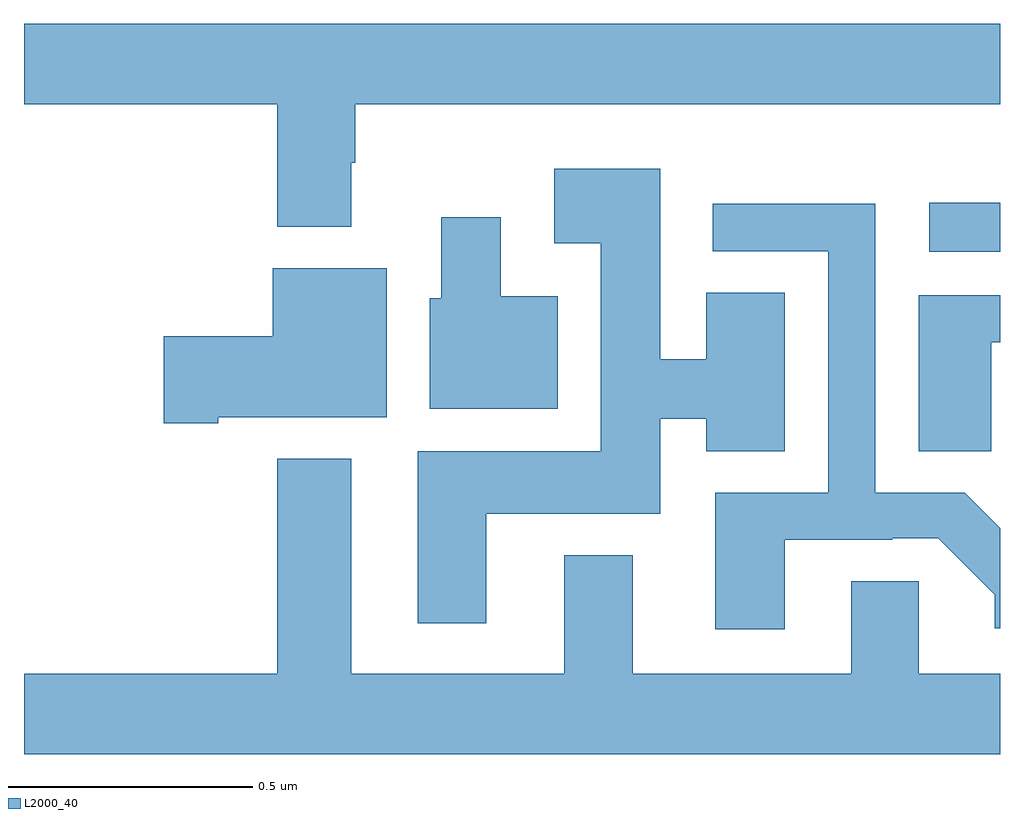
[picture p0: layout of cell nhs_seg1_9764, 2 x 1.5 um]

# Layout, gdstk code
import gdstk
lib = gdstk.Library(unit=1e-6, precision=1e-09)
def R(c, l, rs):  # rectangles x0, y0, x1, y1
    for r in rs: c.add(gdstk.rectangle(r[:2], r[2:], *l))
def P(c, l, *ps):  # polygons
    for p in ps: c.add(gdstk.Polygon(p, *l))
L2000_40 = (2000, 40)

nhs_seg1_9764 = lib.new_cell('nhs_seg1_9764')
R(nhs_seg1_9764, L2000_40, [(234.855,507.473,235,507.574)])
P(nhs_seg1_9764, L2000_40, [(233,507.776),(233.519,507.776),(233.519,507.524),(233.671,507.524),(233.671,507.656),(233.679,507.656),(233.679,507.776),(235,507.776),(235,507.94),(233,507.94)],
  [(233.947,506.936),(234.304,506.936),(234.304,507.131),(234.398,507.131),(234.398,507.064),(234.559,507.064),(234.559,507.389),(234.398,507.389),(234.398,507.253),(234.304,507.253),(234.304,507.643),(234.087,507.643),(234.087,507.491),(234.182,507.491),(234.182,507.064),(233.807,507.064),(233.807,506.712),(233.947,506.712)],
  [(234.559,506.883),(234.779,506.883),(234.779,506.886),(234.873,506.886),(234.989,506.77),(234.989,506.702),(235,506.702),(235,506.907),(234.928,506.979),(234.744,506.979),(234.744,507.572),(234.411,507.572),(234.411,507.474),(234.648,507.474),(234.648,506.979),(234.416,506.979),(234.416,506.7),(234.559,506.7)],
  [(234.094,507.382),(233.977,507.382),(233.977,507.544),(233.855,507.544),(233.855,507.378),(233.831,507.378),(233.831,507.152),(234.094,507.152)],
  [(233.398,507.134),(233.743,507.134),(233.743,507.439),(233.51,507.439),(233.51,507.3),(233.286,507.3),(233.286,507.122),(233.398,507.122)],
  [(234.982,507.288),(235,507.288),(235,507.384),(234.833,507.384),(234.833,507.064),(234.982,507.064)],
  [(235,506.608),(234.834,506.608),(234.834,506.798),(234.695,506.798),(234.695,506.608),(234.247,506.608),(234.247,506.851),(234.107,506.851),(234.107,506.608),(233.671,506.608),(233.671,507.049),(233.519,507.049),(233.519,506.608),(233,506.608),(233,506.444),(235,506.444)])

lib.write_gds('nhs_seg1_9764.gds')
